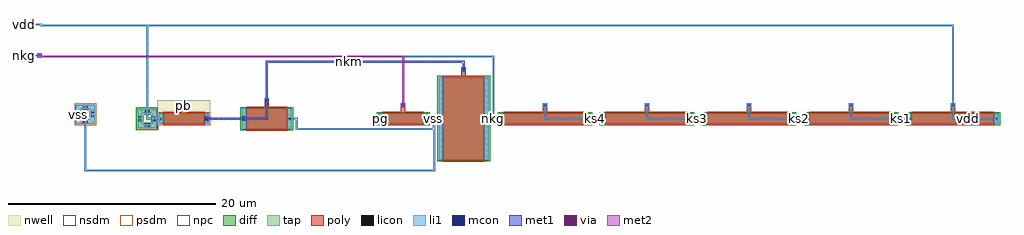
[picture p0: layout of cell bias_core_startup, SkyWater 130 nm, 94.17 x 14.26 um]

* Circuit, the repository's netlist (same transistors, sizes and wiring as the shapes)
* extracted by klt extract --deck sky130

* cell bias_core_startup
* pin ks1
* pin ks2
* pin ks3
* pin ks4
* pin nkg
* pin nkm
* pin pb
* pin pg
* pin vdd
* pin vss
.SUBCKT bias_core_startup ks1 ks2 ks3 ks4 nkg nkm pb pg vdd vss
* device instance $1 r0 *1 -3.42,4 nfet
M$1 vss nkg pg vss nfet L=4U W=1U AS=0.42P AD=0.42P PS=2.84U PD=2.84U
* device instance $2 r0 *1 10.26,4 nfet
M$2 ks4 ks4 nkg vss nfet L=8U W=1U AS=0.42P AD=0.42P PS=2.84U PD=2.84U
* device instance $3 r0 *1 20.1,4 nfet
M$3 ks3 ks3 ks4 vss nfet L=8U W=1U AS=0.42P AD=0.42P PS=2.84U PD=2.84U
* device instance $4 r0 *1 29.94,4 nfet
M$4 ks2 ks2 ks3 vss nfet L=8U W=1U AS=0.42P AD=0.42P PS=2.84U PD=2.84U
* device instance $5 r0 *1 39.78,4 nfet
M$5 ks1 ks1 ks2 vss nfet L=8U W=1U AS=0.42P AD=0.42P PS=2.84U PD=2.84U
* device instance $6 r0 *1 49.62,4 nfet
M$6 vdd vdd ks1 vss nfet L=8U W=1U AS=0.42P AD=0.42P PS=2.84U PD=2.84U
* device instance $7 r0 *1 -16.58,4 nfet
M$7 vss nkm nkm vss nfet L=4U W=2U AS=0.84P AD=0.84P PS=4.84U PD=4.84U
* device instance $8 r0 *1 2.42,4 nfet
M$8 nkg nkm vss vss nfet L=4U W=8U AS=3.36P AD=3.36P PS=16.84U PD=16.84U
* device instance $9 r0 *1 -24.58,4 pfet
M$9 nkm pb vdd vdd pfet L=4U W=1U AS=0.42P AD=0.42P PS=2.84U PD=2.84U
.ENDS bias_core_startup

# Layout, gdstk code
from math import pi, radians
import gdstk
lib = gdstk.Library(unit=1e-6, precision=1e-09)
def R(c, l, rs):  # rectangles x0, y0, x1, y1
    for r in rs: c.add(gdstk.rectangle(r[:2], r[2:], *l))
def A(c, l, x, y, w, h, nx, ny, dx, dy):  # array of equal rectangles
    R(c, l, [(x+i*dx, y+j*dy, x+i*dx+w, y+j*dy+h) for i in range(nx) for j in range(ny)])
def P(c, l, *ps):  # polygons
    for p in ps: c.add(gdstk.Polygon(p, *l))
nwell = (64, 20)
diff = (65, 20)
tap = (65, 44)
poly = (66, 20)
licon = (66, 44)
li1 = (67, 20)
mcon = (67, 44)
met1 = (68, 20)
via = (68, 44)
met2 = (69, 20)
nsdm = (93, 44)
psdm = (94, 20)
npc = (95, 20)

mos_array = lib.new_cell('mos_array')
R(mos_array, diff, [(0,0,4.84,8)])
R(mos_array, poly, [(0.42,-0.15,4.42,8), (0.42,8,4.42,8.15), (0.42,8,4.42,8.15), (2.21,8.15,2.63,8.97)])
R(mos_array, licon, [(0.125,3.915,0.295,4.085), (4.545,3.915,4.715,4.085), (2.335,8.675,2.505,8.845)])
R(mos_array, li1, [(0,0,0.42,8), (4.42,0,4.84,8), (2.21,8.55,2.63,8.97)])
R(mos_array, nsdm, [(-0.125,-0.125,4.965,8.125)])
R(mos_array, npc, [(2.24,8.58,2.6,8.94)])

kpd__kpd = lib.new_cell('kpd__kpd')
kpd__kpd.add(gdstk.Reference(mos_array, (0,0)))

mos_array_1 = lib.new_cell('mos_array$1')
R(mos_array_1, diff, [(0,0,8.84,1)])
R(mos_array_1, poly, [(0.42,-0.15,8.42,1), (0.42,1,8.42,1.15), (0.42,1,8.42,1.15), (4.21,1.15,4.63,1.97)])
R(mos_array_1, licon, [(0.125,0.415,0.295,0.585), (8.545,0.415,8.715,0.585), (4.335,1.675,4.505,1.845)])
R(mos_array_1, li1, [(0,0,0.42,1), (8.42,0,8.84,1), (4.21,1.55,4.63,1.97)])
R(mos_array_1, nsdm, [(-0.125,-0.125,8.965,1.125)])
R(mos_array_1, npc, [(4.24,1.58,4.6,1.94)])

ks4__ks4 = lib.new_cell('ks4__ks4')
ks4__ks4.add(gdstk.Reference(mos_array_1, (0,0)))

mos_array_2 = lib.new_cell('mos_array$2')
R(mos_array_2, diff, [(0,0,8.84,1)])
R(mos_array_2, poly, [(0.42,-0.15,8.42,1), (0.42,1,8.42,1.15), (0.42,1,8.42,1.15), (4.21,1.15,4.63,1.97)])
R(mos_array_2, licon, [(0.125,0.415,0.295,0.585), (8.545,0.415,8.715,0.585), (4.335,1.675,4.505,1.845)])
R(mos_array_2, li1, [(0,0,0.42,1), (8.42,0,8.84,1), (4.21,1.55,4.63,1.97)])
R(mos_array_2, nsdm, [(-0.125,-0.125,8.965,1.125)])
R(mos_array_2, npc, [(4.24,1.58,4.6,1.94)])

ks3__ks3 = lib.new_cell('ks3__ks3')
ks3__ks3.add(gdstk.Reference(mos_array_2, (0,0)))

mos_array_3 = lib.new_cell('mos_array$3')
R(mos_array_3, diff, [(0,0,8.84,1)])
R(mos_array_3, poly, [(0.42,-0.15,8.42,1), (0.42,1,8.42,1.15), (0.42,1,8.42,1.15), (4.21,1.15,4.63,1.97)])
R(mos_array_3, licon, [(0.125,0.415,0.295,0.585), (8.545,0.415,8.715,0.585), (4.335,1.675,4.505,1.845)])
R(mos_array_3, li1, [(0,0,0.42,1), (8.42,0,8.84,1), (4.21,1.55,4.63,1.97)])
R(mos_array_3, nsdm, [(-0.125,-0.125,8.965,1.125)])
R(mos_array_3, npc, [(4.24,1.58,4.6,1.94)])

ks2__ks2 = lib.new_cell('ks2__ks2')
ks2__ks2.add(gdstk.Reference(mos_array_3, (0,0)))

mos_array_4 = lib.new_cell('mos_array$4')
R(mos_array_4, diff, [(0,0,8.84,1)])
R(mos_array_4, poly, [(0.42,-0.15,8.42,1), (0.42,1,8.42,1.15), (0.42,1,8.42,1.15), (4.21,1.15,4.63,1.97)])
R(mos_array_4, licon, [(0.125,0.415,0.295,0.585), (8.545,0.415,8.715,0.585), (4.335,1.675,4.505,1.845)])
R(mos_array_4, li1, [(0,0,0.42,1), (8.42,0,8.84,1), (4.21,1.55,4.63,1.97)])
R(mos_array_4, nsdm, [(-0.125,-0.125,8.965,1.125)])
R(mos_array_4, npc, [(4.24,1.58,4.6,1.94)])

ks1__ks1 = lib.new_cell('ks1__ks1')
ks1__ks1.add(gdstk.Reference(mos_array_4, (0,0)))

mos_array_5 = lib.new_cell('mos_array$5')
R(mos_array_5, diff, [(0,0,8.84,1)])
R(mos_array_5, poly, [(0.42,-0.15,8.42,1), (0.42,1,8.42,1.15), (0.42,1,8.42,1.15), (4.21,1.15,4.63,1.97)])
R(mos_array_5, licon, [(0.125,0.415,0.295,0.585), (8.545,0.415,8.715,0.585), (4.335,1.675,4.505,1.845)])
R(mos_array_5, li1, [(0,0,0.42,1), (8.42,0,8.84,1), (4.21,1.55,4.63,1.97)])
R(mos_array_5, nsdm, [(-0.125,-0.125,8.965,1.125)])
R(mos_array_5, npc, [(4.24,1.58,4.6,1.94)])

ks0__ks0 = lib.new_cell('ks0__ks0')
ks0__ks0.add(gdstk.Reference(mos_array_5, (0,0)))

mos_array_6 = lib.new_cell('mos_array$6')
R(mos_array_6, diff, [(0,0,4.84,1)])
R(mos_array_6, poly, [(0.42,-0.15,4.42,1), (0.42,1,4.42,1.15), (0.42,1,4.42,1.15), (2.21,1.15,2.63,1.97)])
R(mos_array_6, licon, [(0.125,0.415,0.295,0.585), (4.545,0.415,4.715,0.585), (2.335,1.675,2.505,1.845)])
R(mos_array_6, li1, [(0,0,0.42,1), (4.42,0,4.84,1), (2.21,1.55,2.63,1.97)])
R(mos_array_6, nsdm, [(-0.125,-0.125,4.965,1.125)])
R(mos_array_6, npc, [(2.24,1.58,2.6,1.94)])

kick__kick = lib.new_cell('kick__kick')
kick__kick.add(gdstk.Reference(mos_array_6, (0,0)))

mos_array_7 = lib.new_cell('mos_array$7')
R(mos_array_7, diff, [(0,0,4.84,2)])
R(mos_array_7, poly, [(0.42,-0.15,4.42,2), (0.42,2,4.42,2.15), (0.42,2,4.42,2.15), (2.21,2.15,2.63,2.97)])
R(mos_array_7, licon, [(0.125,0.915,0.295,1.085), (4.545,0.915,4.715,1.085), (2.335,2.675,2.505,2.845)])
R(mos_array_7, li1, [(0,0,0.42,2), (4.42,0,4.84,2), (2.21,2.55,2.63,2.97)])
R(mos_array_7, nsdm, [(-0.125,-0.125,4.965,2.125)])
R(mos_array_7, npc, [(2.24,2.58,2.6,2.94)])

kan__kan = lib.new_cell('kan__kan')
kan__kan.add(gdstk.Reference(mos_array_7, (0,0)))

mos_array_8 = lib.new_cell('mos_array$8')
R(mos_array_8, nwell, [(-0.15,-0.15,4.99,2.27)])
R(mos_array_8, diff, [(0,0,4.84,1)])
R(mos_array_8, poly, [(0.42,-0.15,4.42,1), (0.42,1,4.42,1.15), (0.42,1,4.42,1.15), (2.21,1.15,2.63,1.97)])
R(mos_array_8, licon, [(0.125,0.415,0.295,0.585), (4.545,0.415,4.715,0.585), (2.335,1.675,2.505,1.845)])
R(mos_array_8, li1, [(0,0,0.42,1), (4.42,0,4.84,1), (2.21,1.55,2.63,1.97)])
R(mos_array_8, psdm, [(-0.125,-0.125,4.965,1.125)])
R(mos_array_8, npc, [(2.24,1.58,2.6,1.94)])

ka__ka = lib.new_cell('ka__ka')
ka__ka.add(gdstk.Reference(mos_array_8, (0,0)))

guard_ring = lib.new_cell('guard_ring')
R(guard_ring, nwell, [(-0.2,-0.2,2.04,2.04)])
P(guard_ring, tap, [(0,0),(0,1.42),(0.42,1.42),(0.42,0.42),(1.42,0.42),(1.42,1.42),(0,1.42),(0,1.84),(1.84,1.84),(1.84,0)])
R(guard_ring, licon, [(0.67,0.125,0.84,0.295), (1,0.125,1.17,0.295), (0.125,0.67,0.295,0.84), (1.545,0.67,1.715,0.84), (0.125,1,0.295,1.17), (1.545,1,1.715,1.17), (0.67,1.545,0.84,1.715), (1,1.545,1.17,1.715)])
P(guard_ring, li1, [(0,0),(0,1.42),(0.42,1.42),(0.42,0.42),(1.42,0.42),(1.42,1.42),(0,1.42),(0,1.84),(1.84,1.84),(1.84,0)])
P(guard_ring, nsdm, [(-0.125,-0.125),(-0.125,1.295),(0.545,1.295),(0.545,0.545),(1.295,0.545),(1.295,1.295),(-0.125,1.295),(-0.125,1.965),(1.965,1.965),(1.965,-0.125)])

nwell_tap__nwell_tap = lib.new_cell('nwell_tap__nwell_tap')
nwell_tap__nwell_tap.add(gdstk.Reference(guard_ring, (0,0)))

guard_ring_1 = lib.new_cell('guard_ring$1')
P(guard_ring_1, tap, [(0,0),(0,1.42),(0.42,1.42),(0.42,0.42),(1.42,0.42),(1.42,1.42),(0,1.42),(0,1.84),(1.84,1.84),(1.84,0)])
R(guard_ring_1, licon, [(0.67,0.125,0.84,0.295), (1,0.125,1.17,0.295), (0.125,0.67,0.295,0.84), (1.545,0.67,1.715,0.84), (0.125,1,0.295,1.17), (1.545,1,1.715,1.17), (0.67,1.545,0.84,1.715), (1,1.545,1.17,1.715)])
P(guard_ring_1, li1, [(0,0),(0,1.42),(0.42,1.42),(0.42,0.42),(1.42,0.42),(1.42,1.42),(0,1.42),(0,1.84),(1.84,1.84),(1.84,0)])
P(guard_ring_1, psdm, [(-0.125,-0.125),(-0.125,1.295),(0.545,1.295),(0.545,0.545),(1.295,0.545),(1.295,1.295),(-0.125,1.295),(-0.125,1.965),(1.965,1.965),(1.965,-0.125)])

psub_tap__psub_tap = lib.new_cell('psub_tap__psub_tap')
psub_tap__psub_tap.add(gdstk.Reference(guard_ring_1, (0,0)))

stub_vdd__promo_stub = lib.new_cell('stub_vdd__promo_stub')
R(stub_vdd__promo_stub, li1, [(0,0,1.5,0.17)])

stub_nkg__promo_stub = lib.new_cell('stub_nkg__promo_stub')
R(stub_nkg__promo_stub, li1, [(0,0,1.5,0.17)])

bias_core_startup = lib.new_cell('bias_core_startup')
A(bias_core_startup, li1, 10.05, 5.26, 0.42, 0.17, 5, 1, 9.84, 0)
R(bias_core_startup, li1, [(-34.29,3.54,-33.87,3.71), (-22.58,3.79,-22.16,4.21), (-19,3.79,-18.58,4.21), (-19,3.79,-18.58,4.21), (-28.33,4.71,-27.91,4.88), (-28.33,4.71,-27.91,4.88), (-28.33,4.71,-27.91,4.88), (-3.63,5.05,-3.21,5.47), (-3.63,5.26,-3.21,5.43), (49.41,5.26,49.83,5.43), (-16.79,5.55,-16.37,5.97), (-16.79,5.55,-16.37,5.97), (2.21,8.55,2.63,8.97), (-38.71,9.875,-38.29,10.295)])
R(bias_core_startup, mcon, [(-22.455,3.915,-22.285,4.085), (-18.875,3.915,-18.705,4.085), (-18.875,3.915,-18.705,4.085), (-3.505,5.175,-3.335,5.345), (-16.665,5.675,-16.495,5.845), (-16.665,5.675,-16.495,5.845), (2.335,8.675,2.505,8.845), (-38.585,10,-38.415,10.17)])
R(bias_core_startup, met1, [(-22.58,3.79,-22.16,4.21), (-19,3.79,-18.58,4.21), (-19,3.79,-18.58,4.21), (-3.63,5.05,-3.21,5.47), (-3.63,5.05,-3.21,5.47), (-16.79,5.55,-16.37,5.97), (-16.79,5.55,-16.37,5.97), (2.21,8.55,2.63,8.97), (-38.71,9.875,-38.29,10.295), (-38.71,9.875,-38.29,10.295)])
R(bias_core_startup, via, [(-3.495,5.185,-3.345,5.335), (-38.575,10.01,-38.425,10.16)])
R(bias_core_startup, met2, [(-3.63,5.05,-3.21,5.47), (-38.71,9.875,-38.29,10.295)])
bias_core_startup.add(gdstk.FlexPath([(53.83,4),(49.62,4),(49.62,5.26)], 0.17, ends="flush", simple_path=True, layer=67, datatype=20))  # li1
bias_core_startup.add(gdstk.FlexPath([(-26.79,4),(-27.41,4)], 0.17, ends="flush", simple_path=True, layer=67, datatype=20))  # li1
bias_core_startup.add(gdstk.FlexPath([(-28.12,4.71),(-28.12,13),(49.62,13),(49.62,5.26)], 0.17, ends="flush", simple_path=True, layer=67, datatype=20))  # li1
bias_core_startup.add(gdstk.FlexPath([(-28.12,4.71),(-28.12,13),(-38.33,13),(-38.33,13.085),(-38.5,13.085)], 0.17, ends="flush", simple_path=True, layer=67, datatype=20))  # li1
bias_core_startup.add(gdstk.FlexPath([(-27.41,4),(-28.12,4),(-28.12,4.71)], 0.17, ends="flush", simple_path=True, layer=67, datatype=20))  # li1
bias_core_startup.add(gdstk.FlexPath([(45.41,4),(43.99,4)], 0.17, ends="flush", simple_path=True, layer=67, datatype=20))  # li1
bias_core_startup.add(gdstk.FlexPath([(43.99,4),(39.78,4),(39.78,5.26)], 0.17, ends="flush", simple_path=True, layer=67, datatype=20))  # li1
bias_core_startup.add(gdstk.FlexPath([(35.57,4),(34.15,4)], 0.17, ends="flush", simple_path=True, layer=67, datatype=20))  # li1
bias_core_startup.add(gdstk.FlexPath([(34.15,4),(29.94,4),(29.94,5.26)], 0.17, ends="flush", simple_path=True, layer=67, datatype=20))  # li1
bias_core_startup.add(gdstk.FlexPath([(25.73,4),(24.31,4)], 0.17, ends="flush", simple_path=True, layer=67, datatype=20))  # li1
bias_core_startup.add(gdstk.FlexPath([(24.31,4),(20.1,4),(20.1,5.26)], 0.17, ends="flush", simple_path=True, layer=67, datatype=20))  # li1
bias_core_startup.add(gdstk.FlexPath([(15.89,4),(14.47,4)], 0.17, ends="flush", simple_path=True, layer=67, datatype=20))  # li1
bias_core_startup.add(gdstk.FlexPath([(14.47,4),(10.26,4),(10.26,5.26)], 0.17, ends="flush", simple_path=True, layer=67, datatype=20))  # li1
bias_core_startup.add(gdstk.FlexPath([(6.05,4),(4.63,4)], 0.17, ends="flush", simple_path=True, layer=67, datatype=20))  # li1
bias_core_startup.add(gdstk.FlexPath([(-3.42,5.26),(-3.42,10),(5.3,10),(5.3,4),(4.63,4)], 0.17, ends="flush", simple_path=True, layer=67, datatype=20))  # li1
bias_core_startup.add(gdstk.FlexPath([(-1.21,4),(0.21,4)], 0.17, ends="flush", simple_path=True, layer=67, datatype=20))  # li1
bias_core_startup.add(gdstk.FlexPath([(-34.08,3.71),(-34.08,-1),(-0.42,-1),(-0.42,4),(0.21,4)], 0.17, ends="flush", simple_path=True, layer=67, datatype=20))  # li1
bias_core_startup.add(gdstk.FlexPath([(0.21,4),(-0.465,4),(-0.465,3.01),(-13.695,3.01),(-13.695,4),(-14.37,4)], 0.17, ends="flush", simple_path=True, layer=67, datatype=20))  # li1
bias_core_startup.add(gdstk.FlexPath([(-3.42,5.26),(-3.42,10),(-38.33,10),(-38.33,10.085),(-38.5,10.085)], 0.17, ends="flush", simple_path=True, layer=69, datatype=20))  # met2
bias_core_startup.add(gdstk.FlexPath([(2.42,8.76),(2.42,9.5),(-16.58,9.5),(-16.58,5.76)], 0.17, ends="flush", simple_path=True, layer=68, datatype=20))  # met1
bias_core_startup.add(gdstk.FlexPath([(-18.79,4),(-16.58,4),(-16.58,5.76)], 0.17, ends="flush", simple_path=True, layer=68, datatype=20))  # met1
bias_core_startup.add(gdstk.FlexPath([(-18.79,4),(-22.37,4)], 0.17, ends="flush", simple_path=True, layer=68, datatype=20))  # met1
bias_core_startup.add(gdstk.Reference(kpd__kpd, (0,0)))
bias_core_startup.add(gdstk.Reference(ks4__ks4, (5.84,3.5)))
bias_core_startup.add(gdstk.Reference(ks3__ks3, (15.68,3.5)))
bias_core_startup.add(gdstk.Reference(ks2__ks2, (25.52,3.5)))
bias_core_startup.add(gdstk.Reference(ks1__ks1, (35.36,3.5)))
bias_core_startup.add(gdstk.Reference(ks0__ks0, (45.2,3.5)))
bias_core_startup.add(gdstk.Reference(kick__kick, (-1,3.5), rotation=pi, x_reflection=True))
bias_core_startup.add(gdstk.Reference(kan__kan, (-14.16,3), rotation=pi, x_reflection=True))
bias_core_startup.add(gdstk.Reference(ka__ka, (-27,3.5)))
bias_core_startup.add(gdstk.Reference(nwell_tap__nwell_tap, (-29.04,3.08)))
bias_core_startup.add(gdstk.Reference(psub_tap__psub_tap, (-35,3.5)))
bias_core_startup.add(gdstk.Reference(stub_vdd__promo_stub, (-40,13)))
bias_core_startup.add(gdstk.Reference(stub_nkg__promo_stub, (-40,10)))
bias_core_startup.add(gdstk.Label('vdd', (51.095,4), layer=67, texttype=5))
bias_core_startup.add(gdstk.Label('ks1', (44.7,4), layer=67, texttype=5))
bias_core_startup.add(gdstk.Label('ks2', (34.86,4), layer=67, texttype=5))
bias_core_startup.add(gdstk.Label('ks3', (25.02,4), layer=67, texttype=5))
bias_core_startup.add(gdstk.Label('ks4', (15.18,4), layer=67, texttype=5))
bias_core_startup.add(gdstk.Label('nkg', (5.34,4), layer=67, texttype=5))
bias_core_startup.add(gdstk.Label('vss', (-0.5,4), layer=67, texttype=5))
bias_core_startup.add(gdstk.Label('pb', (-24.58,5.26), layer=67, texttype=5))
bias_core_startup.add(gdstk.Label('pg', (-5.63,4), layer=67, texttype=5))
bias_core_startup.add(gdstk.Label('vdd', (-40,13.085), layer=67, texttype=5))
bias_core_startup.add(gdstk.Label('nkg', (-40,10.085), layer=67, texttype=5))
bias_core_startup.add(gdstk.Label('vss', (-34.79,4.42), layer=67, texttype=5))
bias_core_startup.add(gdstk.Label('nkm', (-8.58,9.5), layer=68, texttype=5))

lib.write_gds('bias_core_startup.gds')
